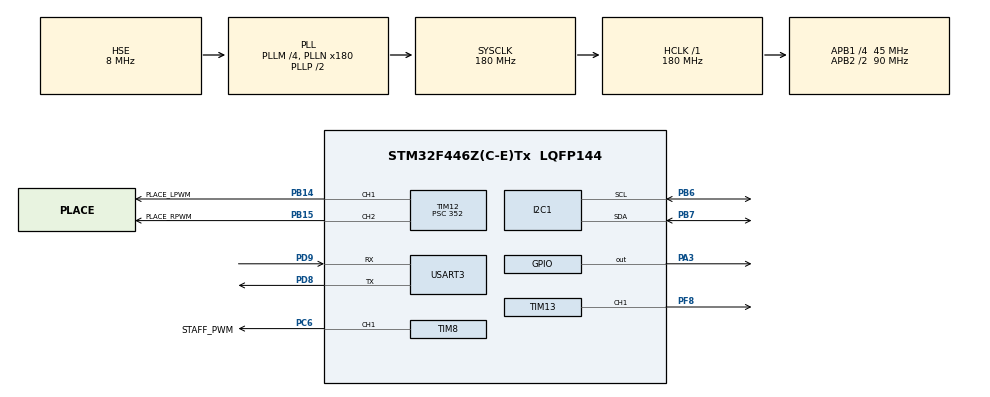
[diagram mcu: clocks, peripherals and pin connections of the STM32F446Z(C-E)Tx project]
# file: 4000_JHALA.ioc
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Mcu.Family=STM32F4
Mcu.Name=STM32F446Z(C-E)Tx
Mcu.Package=LQFP144
NVIC.PriorityGroup=NVIC_PRIORITYGROUP_4
PA13.Mode=Serial_Wire
PA13.Signal=SYS_JTMS-SWDIO
PA14.Mode=Serial_Wire
PA14.Signal=SYS_JTCK-SWCLK
PA3.Signal=GPIO_Output
PB14.GPIO_Label=PLACE_LPWM
PB14.Signal=S_TIM12_CH1
PB15.GPIO_Label=PLACE_RPWM
PB15.Signal=S_TIM12_CH2
PB6.Mode=I2C
PB6.Signal=I2C1_SCL
PB7.Mode=I2C
PB7.Signal=I2C1_SDA
PC14-OSC32_IN.Mode=LSE-External-Oscillator
PC14-OSC32_IN.Signal=RCC_OSC32_IN
PC15-OSC32_OUT.Mode=LSE-External-Oscillator
PC15-OSC32_OUT.Signal=RCC_OSC32_OUT
PC6.GPIO_Label=STAFF_PWM
PC6.Signal=S_TIM8_CH1
PD8.Mode=Asynchronous
PD8.Signal=USART3_TX
PD9.Mode=Asynchronous
PD9.Signal=USART3_RX
PF8.Signal=S_TIM13_CH1
PF9.Signal=S_TIM14_CH1
PH0-OSC_IN.Mode=HSE-External-Oscillator
PH0-OSC_IN.Signal=RCC_OSC_IN
PH1-OSC_OUT.Mode=HSE-External-Oscillator
PH1-OSC_OUT.Signal=RCC_OSC_OUT
ProjectManager.HeapSize=0x200
ProjectManager.StackSize=0x400
ProjectManager.TargetToolchain=STM32CubeIDE
RCC.48MHZClocksFreq_Value=24000000
RCC.AHBFreq_Value=180000000
RCC.APB1CLKDivider=RCC_HCLK_DIV4
RCC.APB1Freq_Value=45000000
RCC.APB1TimFreq_Value=90000000
RCC.APB2CLKDivider=RCC_HCLK_DIV2
RCC.APB2Freq_Value=90000000
RCC.APB2TimFreq_Value=180000000
RCC.CortexFreq_Value=180000000
RCC.HCLKFreq_Value=180000000
RCC.HSE_VALUE=8000000
RCC.HSI_VALUE=16000000
RCC.PLLM=4
RCC.PLLMUL=RCC_PLL_MUL9
RCC.PLLN=180
RCC.PLLSourceVirtual=RCC_PLLSOURCE_HSE
RCC.PRESCALERUSB=RCC_USBCLKSOURCE_PLL_DIV1_5
RCC.SYSCLKFreq_VALUE=180000000
RCC.SYSCLKSource=RCC_SYSCLKSOURCE_PLLCLK
RCC.SYSCLKSourceVirtual=RCC_SYSCLKSOURCE_PLLCLK
RCC.USBFreq_Value=180000000
RCC.VCOOutputFreq_Value=360000000
SH.S_TIM12_CH1.0=TIM12_CH1,PWM Generation1 CH1
SH.S_TIM12_CH2.0=TIM12_CH2,PWM Generation2 CH2
SH.S_TIM13_CH1.0=TIM13_CH1,PWM Generation1 CH1
SH.S_TIM14_CH1.0=TIM14_CH1
SH.S_TIM8_CH1.0=TIM8_CH1,PWM Generation1 CH1
TIM12.Channel-PWM\ Generation1\ CH1=TIM_CHANNEL_1
TIM12.Channel-PWM\ Generation2\ CH2=TIM_CHANNEL_2
TIM12.Period=254
TIM12.Prescaler=352
TIM13.Channel=TIM_CHANNEL_1
TIM13.Period=255
TIM13.Prescaler=352
TIM5.Period=255
TIM5.Prescaler=352
TIM8.Channel-PWM\ Generation1\ CH1=TIM_CHANNEL_1
TIM8.Period=255
TIM8.Prescaler=36
USART3.VirtualMode=VM_ASYNC
VP_TIM12_VS_ClockSourceINT.Mode=Internal
VP_TIM13_VS_ClockSourceINT.Mode=Enable_Timer
VP_TIM5_VS_ClockSourceINT.Mode=Internal
VP_TIM8_VS_ClockSourceINT.Mode=Internal
board=NUCLEO-F446ZE

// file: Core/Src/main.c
/* USER CODE BEGIN Header */
/**
 ******************************************************************************
 * @file           : main.c
 * @brief          : Main program body
 ******************************************************************************
 * @attention
 *
 * Copyright (c) 2026 STMicroelectronics.
 * All rights reserved.
 *
 * This software is licensed under terms that can be found in the LICENSE file
 * in the root directory of this software component.
 * If no LICENSE file comes with this software, it is provided AS-IS.
 *
 ******************************************************************************
 */
/* USER CODE END Header */
#include "main.h"

/* USER CODE BEGIN Includes */
#include<stdbool.h>
#include<string.h>
#include<stdio.h>
#include<stdlib.h>
#include "PCA9685.h"
#include "BTS7960.h"
#include "Cytron.h"
/* USER CODE END Includes */

/* USER CODE BEGIN PTD */

#define data_size 7
#define slave_addr 8

#define DEADZONE  20

/* USER CODE END PTD */

/* USER CODE BEGIN PD */
PCA_t PCA;
int8_t data[data_size];

char msg[300];
int L_joystick_x = 0, L_joystick_y = 0, R_joystick_x = 0, R_joystick_y = 0,
		omega;
bool right;
bool down;
bool up;
bool left;
bool square;
bool cross;
bool circle;
bool triangle;

bool PS, Touchpad, Options, Share, R3, L3, R1, L1;

typedef struct {
	bool prevState;
	bool flag;
} ToggleButton;

float constrain(float num, float min, float max) {
	if (num > max)
		return max;
	else if (num < min)
		return min;
	else
		return num;
}

/* USER CODE END PD */

I2C_HandleTypeDef hi2c1;

TIM_HandleTypeDef htim5;
TIM_HandleTypeDef htim8;
TIM_HandleTypeDef htim12;
TIM_HandleTypeDef htim13;

UART_HandleTypeDef huart3;

/* USER CODE BEGIN PV */

//typedef struct{
//	TIM_HandleTypeDef *htim1;
//	uint32_t LPWM;
//	uint8_t bus1;
//
//	TIM_HandleTypeDef *htim2;
//	uint32_t RPWM;
//	uint8_t bus2;
//
//	uint16_t freq;
//	uint8_t  maxPWM;
//
//} BTSMotor_t;
// =========================== KFS PLACING ===========================
//BTSMotor_t KFS_Place
//BTSMotor_t KFS_Place = {
//		.htim1 		= &htim12,
//		.LPWM 		= TIM_CHANNEL_1,
//		.bus1 		= 1,
//
//		.htim2 		= &htim12,
//		.RPWM 		= TIM_CHANNEL_2,
//		.bus2 		= 1,
//
//		.freq = 1000
//};

BTS KFS_Place_Motor;
//Cytron STAFF_MOTOR;
Cytron SM1;

#define KFS_PLACE_SERVO 			12
#define PCA_FREQ 			50

ToggleButton StaffGripServo = { 0 };
ToggleButton AttackServo = { 0 };

#define MAX_STAFF_PWM 80

#define GRIP_SERVO_1					0
#define GRIP_SERVO_2					8
#define GRIP_SERVO_3					11
#define GRIP_SERVO_4					1

#define GRIP_SERVO_1_GRIP_ANGLE			180
#define GRIP_SERVO_2_GRIP_ANGLE			110
#define GRIP_SERVO_3_GRIP_ANGLE			180
#define GRIP_SERVO_4_GRIP_ANGLE			180

#define GRIP_SERVO_1_RELEASE_ANGLE		0
#define GRIP_SERVO_2_RELEASE_ANGLE		50
#define GRIP_SERVO_3_RELEASE_ANGLE		0
#define GRIP_SERVO_4_RELEASE_ANGLE		0

#define ATTACK_SERVO_1					0
#define ATTACK_SERVO_2					12
#define ATTACK_SERVO_3					10
#define ATTACK_SERVO_4					2

#define ATTACK_SERVO_1_NORMAL_ANGLE		0
#define ATTACK_SERVO_2_NORMAL_ANGLE		110
#define ATTACK_SERVO_3_NORMAL_ANGLE		15
#define ATTACK_SERVO_4_NORMAL_ANGLE		67

#define ATTACK_SERVO_1_ATTACK_ANGLE		45
#define ATTACK_SERVO_2_ATTACK_ANGLE		110 - 47
#define ATTACK_SERVO_3_ATTACK_ANGLE		58
#define ATTACK_SERVO_4_ATTACK_ANGLE		110

#define STAFF_ROPE_SPEED 			60
#define STAFF_PWM_PIN 				PC6					//PC6
#define STAFF_DIR_PIN 				STAFF_DIR_Pin			//PA3
#define STAFF_GPIO	 				GPIOA
#define STAFF_TIM_CHANNEL			TIM_CHANNEL_1		//TIM8
#define STAFF_DIR					0
/* USER CODE END PV */

void SystemClock_Config(void);
static void MX_GPIO_Init(void);
static void MX_I2C1_Init(void);
static void MX_USART3_UART_Init(void);
static void MX_TIM12_Init(void);
static void MX_TIM8_Init(void);
static void MX_TIM13_Init(void);
static void MX_TIM5_Init(void);

/* USER CODE BEGIN 0 */

void get_value() {

	if (HAL_OK
			== (HAL_I2C_Master_Receive(&hi2c1, slave_addr << 1, (uint8_t*) data,
					data_size, HAL_MAX_DELAY))) {

		up = ((data[0] & (1 << 0)) ? 1 : 0);
		right = ((data[0] & (1 << 1)) ? 1 : 0);
		down = ((data[0] & (1 << 2)) ? 1 : 0);
		left = ((data[0] & (1 << 3)) ? 1 : 0);
		triangle = ((data[0] & (1 << 4)) ? 1 : 0);
		circle = ((data[0] & (1 << 5)) ? 1 : 0);
		cross = ((data[0] & (1 << 6)) ? 1 : 0);
		square = ((data[0] & (1 << 7)) ? 1 : 0);

		L1 = ((data[1] & (1 << 0)) ? 1 : 0);
		R1 = ((data[1] & (1 << 1)) ? 1 : 0);
		L3 = ((data[1] & (1 << 2)) ? 1 : 0);
		R3 = ((data[1] & (1 << 3)) ? 1 : 0);
		Share = ((data[1] & (1 << 4)) ? 1 : 0);
		Options = ((data[1] & (1 << 5)) ? 1 : 0);
		Touchpad = ((data[1] & (1 << 6)) ? 1 : 0);
		PS = ((data[1] & (1 << 7)) ? 1 : 0);

		omega = data[6];
		R_joystick_y = data[5];
		R_joystick_x = data[4];
		L_joystick_x = data[2];
		L_joystick_y = data[3];

		if (abs(L_joystick_x) < DEADZONE) {
			L_joystick_x = 0;
		}
		if (abs(L_joystick_y) < DEADZONE) {
			L_joystick_y = 0;
		}
		if (abs(omega) < DEADZONE) {
			omega = 0;
		}

		sprintf(msg,
				" sq %d x %d o %d tri %d left %d down %d right %d up %d  PS %d Touchpad %d Options %d Share %d R3 %d L3 %d R1 %d L1 %d lx %d ly %d rx %d ry%d omega %d \r\n",
				square, cross, circle, triangle, left, down, right, up, PS,
				Touchpad, Options, Share, R3, L3, R1, L1, L_joystick_x,
				L_joystick_y, R_joystick_x, R_joystick_y, omega);

		//sprintf(msg,"%d   %d\r\n" data[4], data[5]);
		HAL_UART_Transmit(&huart3, (uint8_t*) msg, strlen(msg), HAL_MAX_DELAY);

	}
}

////=================== KFS PLACING ===================

//void KFS_Motor(){
//	if(L1){
//		RotateMotor(&KFS_Place_Motor,  KFS_PLACE_CONVEYOR_SPEED);
//	}
//	else if(R1){
//		RotateMotor(&KFS_Place_Motor, -KFS_PLACE_CONVEYOR_SPEED);
//	}
//	else{
//		StopMotor(&KFS_Place_Motor);
//	}
//
//}
//ToggleButton KFSPlaceServo = { 0 };

//void KFS_PLACE_Servo(){
//
//	if(cross && !KFSPlaceServo.prevState){
//			KFSPlaceServo.prevState = true;
//			KFSPlaceServo.flag 		= !KFSPlaceServo.flag;
//
//			if(KFSPlaceServo.flag){
//				RotateServo(&PCA, KFS_PLACE_SERVO, KFS_PLACE_OPEN_ANGLE);
//			}
//			else{
//				RotateServo(&PCA, KFS_PLACE_SERVO, KFS_PLACE_CLOSE_ANGLE);
//			}
//		}
//		else if (cross){
//			KFSPlaceServo.prevState = false;
//		}
//}

//void STAFF_Motor() {
//	if (R_joystick_y) {
//		int16_t beltSpeed = (int16_t) constrain(R_joystick_y, -MAX_STAFF_PWM,	MAX_STAFF_PWM);
//		RotateCytron(&STAFF_MOTOR, beltSpeed);
//	} else {
//		StopCytron(&STAFF_MOTOR);
//	}
//}

////=================== KFS PLACING ===================
//void KFS_PLACE_Motor(){
//	if(PS4.L1){
//		RotateMotor(&KFS_PLACE_MOTOR,   KFS_PLACE_CONVEYOR_SPEED);
////		sprintf(msg, "L1 Pushed!\r\n");
////		HAL_UART_Transmit(&huart3, (uint8_t*) msg, sizeof(msg), 100);
//	}
//	else if(PS4.R1){
//		RotateMotor(&KFS_PLACE_MOTOR,   -KFS_PLACE_CONVEYOR_SPEED);
////		sprintf(msg, "R1 Pushed!\r\n");
////		HAL_UART_Transmit(&huart3, (uint8_t*) msg, sizeof(msg), 100);
//	}
//	else{
//		StopMotor(&KFS_PLACE_MOTOR);
////		sprintf(msg, "STOP!!!\r\n");
////		HAL_UART_Transmit(&huart3, (uint8_t*) msg, sizeof(msg), 100);
//	}

/* USER CODE END 0 */

int main(void)
{

  /* MCU Configuration--------------------------------------------------------*/

  /* Reset of all peripherals, Initializes the Flash interface and the Systick. */
  HAL_Init();

  /* Configure the system clock */
  SystemClock_Config();

  /* Initialize all configured peripherals */
  MX_GPIO_Init();
  MX_I2C1_Init();
  MX_USART3_UART_Init();
  MX_TIM12_Init();
  MX_TIM8_Init();
  MX_TIM13_Init();
  MX_TIM5_Init();
  /* USER CODE BEGIN 2 */

//  InitBTS(&KFS_Place_Motor, &htim12, KFS_PLACE_LPWM, KFS_PLACE_LPWM_APB_BUS, &htim12, KFS_PLACE_RPWM, KFS_PLACE_RPWM_APB_BUS, KFS_PLACE_MOTOR_FREQ);

  InitCytron(&SM1, &htim8, TIM_CHANNEL_1, GPIOA, GPIO_PIN_3, 1);
  /* USER CODE END 2 */

  /* Infinite loop */
	while (1) {

    /* USER CODE BEGIN 3 */

		get_value();
//	  KFS_Motor
//		STAFF_Motor();
		RotateCytron(&SM1, 50);
	    HAL_Delay(10);

	}
  /* USER CODE END 3 */
}

void SystemClock_Config(void)
{
  RCC_OscInitTypeDef RCC_OscInitStruct = {0};
  RCC_ClkInitTypeDef RCC_ClkInitStruct = {0};

  /** Configure the main internal regulator output voltage
  */
  __HAL_RCC_PWR_CLK_ENABLE();
  __HAL_PWR_VOLTAGESCALING_CONFIG(PWR_REGULATOR_VOLTAGE_SCALE1);

  /** Initializes the RCC Oscillators according to the specified parameters
  * in the RCC_OscInitTypeDef structure.
  */
  RCC_OscInitStruct.OscillatorType = RCC_OSCILLATORTYPE_HSE;
  RCC_OscInitStruct.HSEState = RCC_HSE_ON;
  RCC_OscInitStruct.PLL.PLLState = RCC_PLL_ON;
  RCC_OscInitStruct.PLL.PLLSource = RCC_PLLSOURCE_HSE;
  RCC_OscInitStruct.PLL.PLLM = 4;
  RCC_OscInitStruct.PLL.PLLN = 180;
  RCC_OscInitStruct.PLL.PLLP = RCC_PLLP_DIV2;
  RCC_OscInitStruct.PLL.PLLQ = 2;
  RCC_OscInitStruct.PLL.PLLR = 2;
  if (HAL_RCC_OscConfig(&RCC_OscInitStruct) != HAL_OK)
  {
    Error_Handler();
  }

  /** Activate the Over-Drive mode
  */
  if (HAL_PWREx_EnableOverDrive() != HAL_OK)
  {
    Error_Handler();
  }

  /** Initializes the CPU, AHB and APB buses clocks
  */
  RCC_ClkInitStruct.ClockType = RCC_CLOCKTYPE_HCLK|RCC_CLOCKTYPE_SYSCLK
                              |RCC_CLOCKTYPE_PCLK1|RCC_CLOCKTYPE_PCLK2;
  RCC_ClkInitStruct.SYSCLKSource = RCC_SYSCLKSOURCE_PLLCLK;
  RCC_ClkInitStruct.AHBCLKDivider = RCC_SYSCLK_DIV1;
  RCC_ClkInitStruct.APB1CLKDivider = RCC_HCLK_DIV4;
  RCC_ClkInitStruct.APB2CLKDivider = RCC_HCLK_DIV2;

  if (HAL_RCC_ClockConfig(&RCC_ClkInitStruct, FLASH_LATENCY_5) != HAL_OK)
  {
    Error_Handler();
  }
}

static void MX_I2C1_Init(void)
{

  hi2c1.Instance = I2C1;
  hi2c1.Init.ClockSpeed = 100000;
  hi2c1.Init.DutyCycle = I2C_DUTYCYCLE_2;
  hi2c1.Init.OwnAddress1 = 0;
  hi2c1.Init.AddressingMode = I2C_ADDRESSINGMODE_7BIT;
  hi2c1.Init.DualAddressMode = I2C_DUALADDRESS_DISABLE;
  hi2c1.Init.OwnAddress2 = 0;
  hi2c1.Init.GeneralCallMode = I2C_GENERALCALL_DISABLE;
  hi2c1.Init.NoStretchMode = I2C_NOSTRETCH_DISABLE;
  if (HAL_I2C_Init(&hi2c1) != HAL_OK)
  {
    Error_Handler();
  }

}

static void MX_TIM5_Init(void)
{

  TIM_ClockConfigTypeDef sClockSourceConfig = {0};
  TIM_MasterConfigTypeDef sMasterConfig = {0};

  htim5.Instance = TIM5;
  htim5.Init.Prescaler = 352;
  htim5.Init.CounterMode = TIM_COUNTERMODE_UP;
  htim5.Init.Period = 255;
  htim5.Init.ClockDivision = TIM_CLOCKDIVISION_DIV1;
  htim5.Init.AutoReloadPreload = TIM_AUTORELOAD_PRELOAD_DISABLE;
  if (HAL_TIM_Base_Init(&htim5) != HAL_OK)
  {
    Error_Handler();
  }
  sClockSourceConfig.ClockSource = TIM_CLOCKSOURCE_INTERNAL;
  if (HAL_TIM_ConfigClockSource(&htim5, &sClockSourceConfig) != HAL_OK)
  {
    Error_Handler();
  }
  sMasterConfig.MasterOutputTrigger = TIM_TRGO_RESET;
  sMasterConfig.MasterSlaveMode = TIM_MASTERSLAVEMODE_DISABLE;
  if (HAL_TIMEx_MasterConfigSynchronization(&htim5, &sMasterConfig) != HAL_OK)
  {
    Error_Handler();
  }

}

static void MX_TIM8_Init(void)
{

  TIM_ClockConfigTypeDef sClockSourceConfig = {0};
  TIM_MasterConfigTypeDef sMasterConfig = {0};
  TIM_OC_InitTypeDef sConfigOC = {0};
  TIM_BreakDeadTimeConfigTypeDef sBreakDeadTimeConfig = {0};

  htim8.Instance = TIM8;
  htim8.Init.Prescaler = 36;
  htim8.Init.CounterMode = TIM_COUNTERMODE_UP;
  htim8.Init.Period = 255;
  htim8.Init.ClockDivision = TIM_CLOCKDIVISION_DIV1;
  htim8.Init.RepetitionCounter = 0;
  htim8.Init.AutoReloadPreload = TIM_AUTORELOAD_PRELOAD_DISABLE;
  if (HAL_TIM_Base_Init(&htim8) != HAL_OK)
  {
    Error_Handler();
  }
  sClockSourceConfig.ClockSource = TIM_CLOCKSOURCE_INTERNAL;
  if (HAL_TIM_ConfigClockSource(&htim8, &sClockSourceConfig) != HAL_OK)
  {
    Error_Handler();
  }
  if (HAL_TIM_PWM_Init(&htim8) != HAL_OK)
  {
    Error_Handler();
  }
  sMasterConfig.MasterOutputTrigger = TIM_TRGO_RESET;
  sMasterConfig.MasterSlaveMode = TIM_MASTERSLAVEMODE_DISABLE;
  if (HAL_TIMEx_MasterConfigSynchronization(&htim8, &sMasterConfig) != HAL_OK)
  {
    Error_Handler();
  }
  sConfigOC.OCMode = TIM_OCMODE_PWM1;
  sConfigOC.Pulse = 0;
  sConfigOC.OCPolarity = TIM_OCPOLARITY_HIGH;
  sConfigOC.OCNPolarity = TIM_OCNPOLARITY_HIGH;
  sConfigOC.OCFastMode = TIM_OCFAST_DISABLE;
  sConfigOC.OCIdleState = TIM_OCIDLESTATE_RESET;
  sConfigOC.OCNIdleState = TIM_OCNIDLESTATE_RESET;
  if (HAL_TIM_PWM_ConfigChannel(&htim8, &sConfigOC, TIM_CHANNEL_1) != HAL_OK)
  {
    Error_Handler();
  }
  sBreakDeadTimeConfig.OffStateRunMode = TIM_OSSR_DISABLE;
  sBreakDeadTimeConfig.OffStateIDLEMode = TIM_OSSI_DISABLE;
  sBreakDeadTimeConfig.LockLevel = TIM_LOCKLEVEL_OFF;
  sBreakDeadTimeConfig.DeadTime = 0;
  sBreakDeadTimeConfig.BreakState = TIM_BREAK_DISABLE;
  sBreakDeadTimeConfig.BreakPolarity = TIM_BREAKPOLARITY_HIGH;
  sBreakDeadTimeConfig.AutomaticOutput = TIM_AUTOMATICOUTPUT_DISABLE;
  if (HAL_TIMEx_ConfigBreakDeadTime(&htim8, &sBreakDeadTimeConfig) != HAL_OK)
  {
    Error_Handler();
  }
  HAL_TIM_MspPostInit(&htim8);

}

static void MX_TIM12_Init(void)
{

  TIM_ClockConfigTypeDef sClockSourceConfig = {0};
  TIM_OC_InitTypeDef sConfigOC = {0};

  htim12.Instance = TIM12;
  htim12.Init.Prescaler = 352;
  htim12.Init.CounterMode = TIM_COUNTERMODE_UP;
  htim12.Init.Period = 254;
  htim12.Init.ClockDivision = TIM_CLOCKDIVISION_DIV1;
  htim12.Init.AutoReloadPreload = TIM_AUTORELOAD_PRELOAD_DISABLE;
  if (HAL_TIM_Base_Init(&htim12) != HAL_OK)
  {
    Error_Handler();
  }
  sClockSourceConfig.ClockSource = TIM_CLOCKSOURCE_INTERNAL;
  if (HAL_TIM_ConfigClockSource(&htim12, &sClockSourceConfig) != HAL_OK)
  {
    Error_Handler();
  }
  if (HAL_TIM_PWM_Init(&htim12) != HAL_OK)
  {
    Error_Handler();
  }
  sConfigOC.OCMode = TIM_OCMODE_PWM1;
  sConfigOC.Pulse = 0;
  sConfigOC.OCPolarity = TIM_OCPOLARITY_HIGH;
  sConfigOC.OCFastMode = TIM_OCFAST_DISABLE;
  if (HAL_TIM_PWM_ConfigChannel(&htim12, &sConfigOC, TIM_CHANNEL_1) != HAL_OK)
  {
    Error_Handler();
  }
  if (HAL_TIM_PWM_ConfigChannel(&htim12, &sConfigOC, TIM_CHANNEL_2) != HAL_OK)
  {
    Error_Handler();
  }
  HAL_TIM_MspPostInit(&htim12);

}

static void MX_TIM13_Init(void)
{

  TIM_OC_InitTypeDef sConfigOC = {0};

  htim13.Instance = TIM13;
  htim13.Init.Prescaler = 352;
  htim13.Init.CounterMode = TIM_COUNTERMODE_UP;
  htim13.Init.Period = 255;
  htim13.Init.ClockDivision = TIM_CLOCKDIVISION_DIV1;
  htim13.Init.AutoReloadPreload = TIM_AUTORELOAD_PRELOAD_DISABLE;
  if (HAL_TIM_Base_Init(&htim13) != HAL_OK)
  {
    Error_Handler();
  }
  if (HAL_TIM_PWM_Init(&htim13) != HAL_OK)
  {
    Error_Handler();
  }
  sConfigOC.OCMode = TIM_OCMODE_PWM1;
  sConfigOC.Pulse = 0;
  sConfigOC.OCPolarity = TIM_OCPOLARITY_HIGH;
  sConfigOC.OCFastMode = TIM_OCFAST_DISABLE;
  if (HAL_TIM_PWM_ConfigChannel(&htim13, &sConfigOC, TIM_CHANNEL_1) != HAL_OK)
  {
    Error_Handler();
  }
  HAL_TIM_MspPostInit(&htim13);

}

static void MX_USART3_UART_Init(void)
{

  huart3.Instance = USART3;
  huart3.Init.BaudRate = 115200;
  huart3.Init.WordLength = UART_WORDLENGTH_8B;
  huart3.Init.StopBits = UART_STOPBITS_1;
  huart3.Init.Parity = UART_PARITY_NONE;
  huart3.Init.Mode = UART_MODE_TX_RX;
  huart3.Init.HwFlowCtl = UART_HWCONTROL_NONE;
  huart3.Init.OverSampling = UART_OVERSAMPLING_16;
  if (HAL_UART_Init(&huart3) != HAL_OK)
  {
    Error_Handler();
  }

}

static void MX_GPIO_Init(void)
{
  GPIO_InitTypeDef GPIO_InitStruct = {0};

  /* GPIO Ports Clock Enable */
  __HAL_RCC_GPIOC_CLK_ENABLE();
  __HAL_RCC_GPIOF_CLK_ENABLE();
  __HAL_RCC_GPIOH_CLK_ENABLE();
  __HAL_RCC_GPIOA_CLK_ENABLE();
  __HAL_RCC_GPIOB_CLK_ENABLE();
  __HAL_RCC_GPIOD_CLK_ENABLE();

  /*Configure GPIO pin Output Level */
  HAL_GPIO_WritePin(GPIOA, GPIO_PIN_3, GPIO_PIN_RESET);

  /*Configure GPIO pin : PF9 */
  GPIO_InitStruct.Pin = GPIO_PIN_9;
  GPIO_InitStruct.Mode = GPIO_MODE_AF_PP;
  GPIO_InitStruct.Pull = GPIO_NOPULL;
  GPIO_InitStruct.Speed = GPIO_SPEED_FREQ_LOW;
  GPIO_InitStruct.Alternate = GPIO_AF9_TIM14;
  HAL_GPIO_Init(GPIOF, &GPIO_InitStruct);

  /*Configure GPIO pin : PA3 */
  GPIO_InitStruct.Pin = GPIO_PIN_3;
  GPIO_InitStruct.Mode = GPIO_MODE_OUTPUT_PP;
  GPIO_InitStruct.Pull = GPIO_NOPULL;
  GPIO_InitStruct.Speed = GPIO_SPEED_FREQ_LOW;
  HAL_GPIO_Init(GPIOA, &GPIO_InitStruct);

}

void Error_Handler(void)
{
	__disable_irq();
	while (1) {
	}
}
